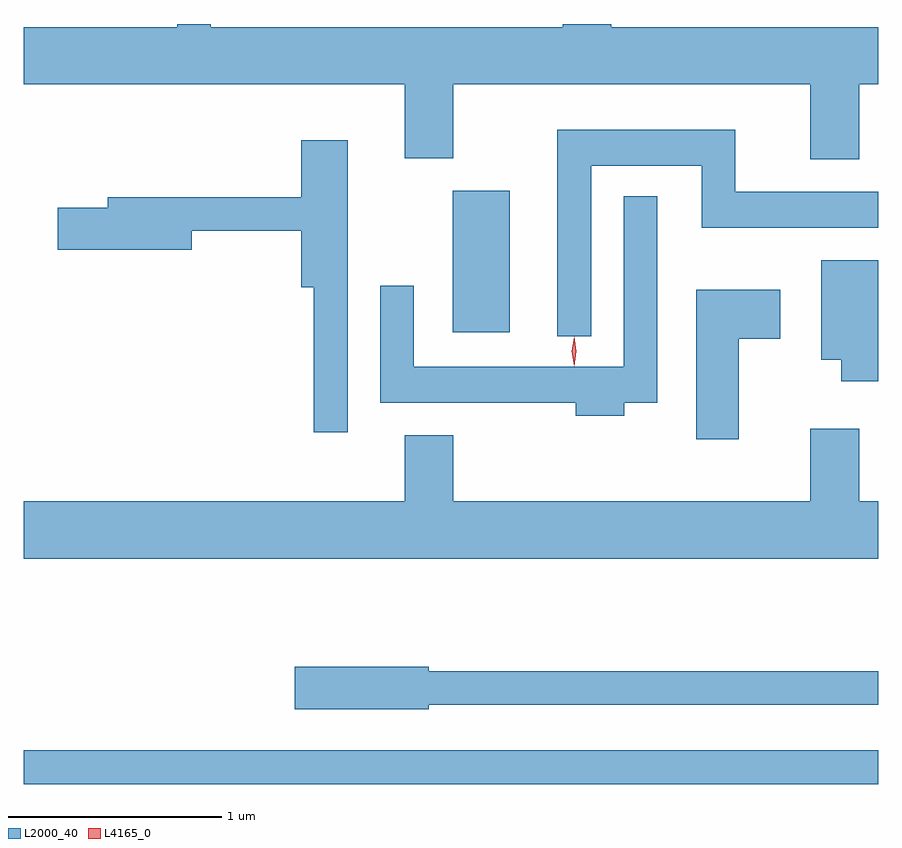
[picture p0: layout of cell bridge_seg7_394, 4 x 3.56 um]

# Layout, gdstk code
import gdstk
lib = gdstk.Library(unit=1e-6, precision=1e-09)
def R(c, l, rs):  # rectangles x0, y0, x1, y1
    for r in rs: c.add(gdstk.rectangle(r[:2], r[2:], *l))
def P(c, l, *ps):  # polygons
    for p in ps: c.add(gdstk.Polygon(p, *l))
L2000_40 = (2000, 40)
L4165_0 = (4165, 0)

bridge_seg7_394 = lib.new_cell('bridge_seg7_394')
R(bridge_seg7_394, L2000_40, [(1148.988,1715.481,1152.988,1715.639), (1150.996,1717.596,1151.264,1718.259)])
P(bridge_seg7_394, L2000_40, [(1152.899,1718.756),(1152.988,1718.756),(1152.988,1719.024),(1151.739,1719.024),(1151.739,1719.039),(1151.511,1719.039),(1151.511,1719.024),(1149.864,1719.024),(1149.864,1719.039),(1149.706,1719.039),(1149.706,1719.024),(1148.988,1719.024),(1148.988,1718.756),(1150.771,1718.756),(1150.771,1718.411),(1150.999,1718.411),(1150.999,1718.756),(1152.671,1718.756),(1152.671,1718.406),(1152.899,1718.406)],
  [(1151.644,1718.376),(1152.161,1718.376),(1152.161,1718.086),(1152.988,1718.086),(1152.988,1718.254),(1152.319,1718.254),(1152.319,1718.544),(1151.486,1718.544),(1151.486,1717.578),(1151.644,1717.578)],
  [(1150.504,1718.494),(1150.286,1718.494),(1150.286,1718.229),(1149.381,1718.229),(1149.381,1718.179),(1149.146,1718.179),(1149.146,1717.981),(1149.774,1717.981),(1149.774,1718.071),(1150.286,1718.071),(1150.286,1717.806),(1150.346,1717.806),(1150.346,1717.128),(1150.504,1717.128)],
  [(1151.799,1717.266),(1151.954,1717.266),(1151.954,1718.233),(1151.796,1718.233),(1151.796,1717.434),(1150.814,1717.434),(1150.814,1717.813),(1150.656,1717.813),(1150.656,1717.266),(1151.571,1717.266),(1151.571,1717.206),(1151.799,1717.206)],
  [(1152.988,1717.934),(1152.721,1717.934),(1152.721,1717.466),(1152.816,1717.466),(1152.816,1717.366),(1152.988,1717.366)],
  [(1152.334,1717.566),(1152.529,1717.566),(1152.529,1717.794),(1152.136,1717.794),(1152.136,1717.096),(1152.334,1717.096)],
  [(1152.988,1716.804),(1152.899,1716.804),(1152.899,1717.144),(1152.671,1717.144),(1152.671,1716.804),(1150.999,1716.804),(1150.999,1717.114),(1150.771,1717.114),(1150.771,1716.804),(1148.988,1716.804),(1148.988,1716.536),(1152.988,1716.536)],
  [(1150.884,1715.851),(1152.988,1715.851),(1152.988,1716.009),(1150.884,1716.009),(1150.884,1716.029),(1150.256,1716.029),(1150.256,1715.831),(1150.884,1715.831)])
P(bridge_seg7_394, L4165_0, [(1151.564,1717.437),(1151.555,1717.506),(1151.564,1717.576),(1151.565,1717.576),(1151.565,1717.576),(1151.575,1717.506),(1151.565,1717.437),(1151.565,1717.437)],
  [(1151.564,1717.439),(1151.564,1717.44),(1151.554,1717.506),(1151.564,1717.572),(1151.564,1717.573),(1151.565,1717.572),(1151.574,1717.506),(1151.565,1717.44)])

lib.write_gds('bridge_seg7_394.gds')
